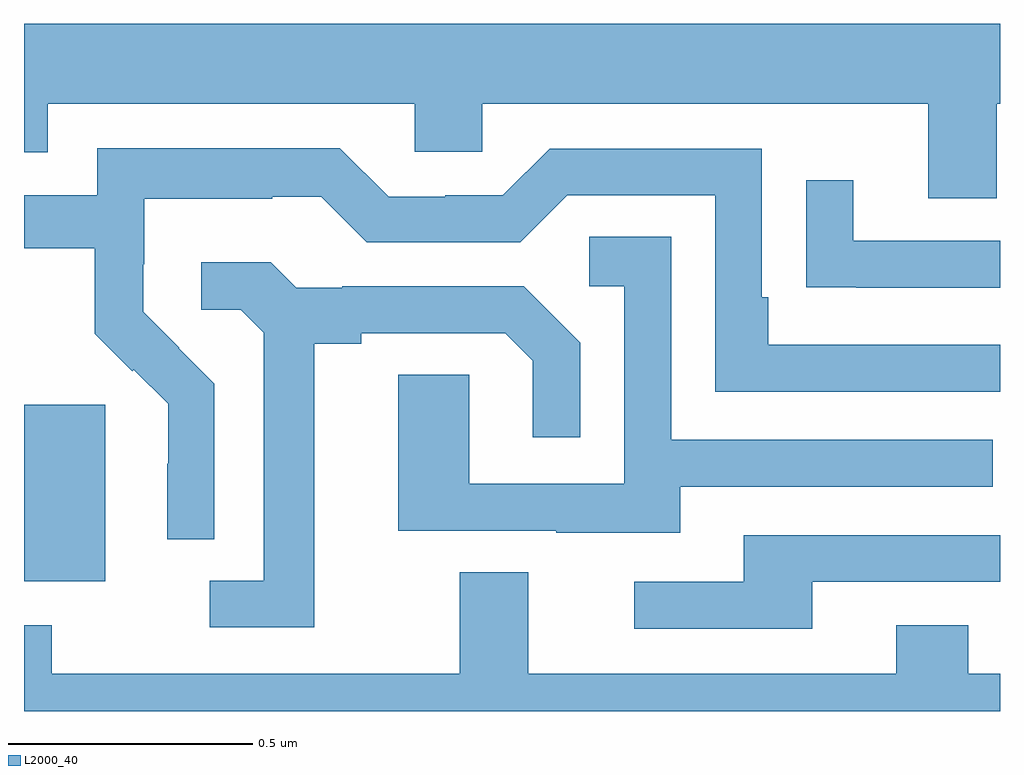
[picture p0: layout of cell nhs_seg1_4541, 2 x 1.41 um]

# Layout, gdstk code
import gdstk
lib = gdstk.Library(unit=1e-6, precision=1e-09)
def R(c, l, rs):  # rectangles x0, y0, x1, y1
    for r in rs: c.add(gdstk.rectangle(r[:2], r[2:], *l))
def P(c, l, *ps):  # polygons
    for p in ps: c.add(gdstk.Polygon(p, *l))
L2000_40 = (2000, 40)

nhs_seg1_4541 = lib.new_cell('nhs_seg1_4541')
R(nhs_seg1_4541, L2000_40, [(168,505.466,168.166,505.827)])
P(nhs_seg1_4541, L2000_40, [(169.993,506.444),(170,506.444),(170,506.608),(168,506.608),(168,506.345),(168.049,506.345),(168.049,506.444),(168.801,506.444),(168.801,506.346),(168.939,506.346),(168.939,506.444),(169.853,506.444),(169.853,506.25),(169.993,506.25)],
  [(168.39,505.87),(168.317,505.943),(168.318,505.944),(168.244,506.018),(168.244,506.115),(168.246,506.115),(168.246,506.249),(168.509,506.249),(168.509,506.253),(168.609,506.253),(168.702,506.16),(169.017,506.16),(169.113,506.256),(169.416,506.256),(169.416,505.854),(170,505.854),(170,505.95),(169.525,505.95),(169.525,506.047),(169.512,506.047),(169.512,506.352),(169.077,506.352),(168.981,506.256),(168.863,506.256),(168.863,506.253),(168.747,506.253),(168.647,506.353),(168.15,506.353),(168.15,506.256),(168,506.256),(168,506.148),(168.145,506.148),(168.145,505.973),(168.222,505.896),(168.225,505.899),(168.296,505.829),(168.296,505.706),(168.294,505.706),(168.294,505.552),(168.39,505.552)],
  [(170,506.163),(169.699,506.163),(169.699,506.287),(169.603,506.287),(169.603,506.068),(169.705,506.068),(169.705,506.067),(170,506.067)],
  [(169.345,505.659),(169.985,505.659),(169.985,505.755),(169.326,505.755),(169.326,506.171),(169.158,506.171),(169.158,506.07),(169.23,506.07),(169.23,505.665),(168.912,505.665),(168.912,505.889),(168.767,505.889),(168.767,505.569),(169.091,505.569),(169.091,505.565),(169.345,505.565)],
  [(168.595,505.952),(168.691,505.952),(168.691,505.974),(168.986,505.974),(169.043,505.917),(169.043,505.761),(169.14,505.761),(169.14,505.954),(169.024,506.07),(168.652,506.07),(168.652,506.067),(168.558,506.067),(168.506,506.119),(168.363,506.119),(168.363,506.022),(168.444,506.022),(168.491,505.975),(168.491,505.467),(168.381,505.467),(168.381,505.371),(168.595,505.371)],
  [(169.615,505.464),(170,505.464),(170,505.56),(169.475,505.56),(169.475,505.464),(169.251,505.464),(169.251,505.368),(169.615,505.368)],
  [(170,505.276),(169.935,505.276),(169.935,505.375),(169.787,505.375),(169.787,505.276),(169.033,505.276),(169.033,505.484),(168.893,505.484),(168.893,505.276),(168.057,505.276),(168.057,505.375),(168,505.375),(168,505.199),(170,505.199)])

lib.write_gds('nhs_seg1_4541.gds')
